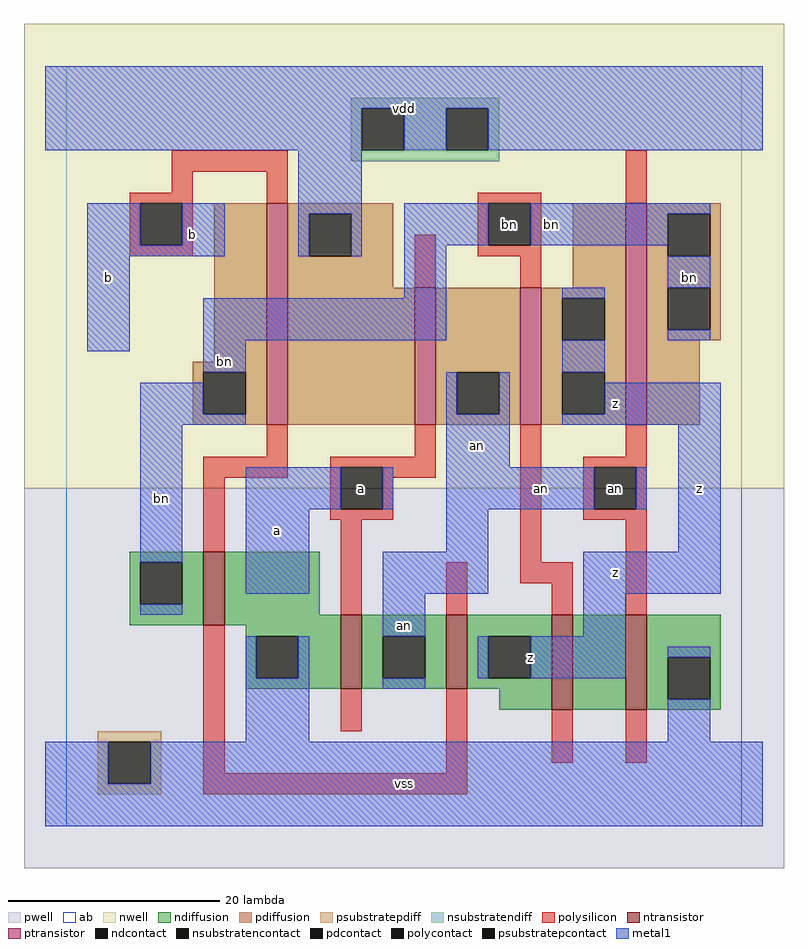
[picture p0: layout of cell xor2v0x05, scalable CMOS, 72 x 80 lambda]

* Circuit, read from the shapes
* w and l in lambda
.subckt xor2v0x05 a an b bn vdd vss z
M1 vss b bn vss nfet w=7 l=2
M2 an a vss vss nfet w=7 l=2
M3 z b an vss nfet w=7 l=2
M4 n1 bn z vss nfet w=9 l=2
M5 vss an n1 vss nfet w=9 l=2
M6 vdd b bn vdd pfet w=21 l=2
M7 an a vdd vdd pfet w=13 l=2
M8 z bn an vdd pfet w=13 l=2
M9 bn an z vdd pfet w=21 l=2
.ends

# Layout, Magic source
magic
tech scmos
<< ab >>
rect 0 0 64 72
<< pwell >>
rect -4 -4 68 32
<< nwell >>
rect -4 32 68 76
<< polysilicon >>
rect 10 62 21 64
rect 10 60 12 62
rect 6 59 12 60
rect 19 59 21 62
rect 39 59 45 60
rect 53 59 55 64
rect 6 55 7 59
rect 11 55 12 59
rect 6 54 12 55
rect 33 51 35 56
rect 39 55 40 59
rect 44 55 45 59
rect 39 54 45 55
rect 43 51 45 54
rect 19 35 21 38
rect 33 35 35 38
rect 13 33 21 35
rect 25 34 35 35
rect 13 26 15 33
rect 25 30 26 34
rect 30 33 35 34
rect 30 30 31 33
rect 25 29 31 30
rect 26 20 28 29
rect 43 25 45 38
rect 53 35 55 38
rect 49 34 55 35
rect 49 30 50 34
rect 54 30 55 34
rect 49 29 55 30
rect 36 20 38 25
rect 43 23 48 25
rect 46 20 48 23
rect 53 20 55 29
rect 13 5 15 19
rect 26 9 28 13
rect 36 5 38 13
rect 46 6 48 11
rect 53 6 55 11
rect 13 3 38 5
<< ndiffusion >>
rect 6 25 13 26
rect 6 21 7 25
rect 11 21 13 25
rect 6 19 13 21
rect 15 20 24 26
rect 15 19 26 20
rect 17 18 26 19
rect 17 14 18 18
rect 22 14 26 18
rect 17 13 26 14
rect 28 18 36 20
rect 28 14 30 18
rect 34 14 36 18
rect 28 13 36 14
rect 38 18 46 20
rect 38 14 40 18
rect 44 14 46 18
rect 38 13 46 14
rect 41 11 46 13
rect 48 11 53 20
rect 55 16 62 20
rect 55 12 57 16
rect 61 12 62 16
rect 55 11 62 12
<< pdiffusion >>
rect 14 44 19 59
rect 12 43 19 44
rect 12 39 13 43
rect 17 39 19 43
rect 12 38 19 39
rect 21 58 31 59
rect 21 54 23 58
rect 27 54 31 58
rect 21 51 31 54
rect 48 51 53 59
rect 21 38 33 51
rect 35 43 43 51
rect 35 39 37 43
rect 41 39 43 43
rect 35 38 43 39
rect 45 50 53 51
rect 45 46 47 50
rect 51 46 53 50
rect 45 43 53 46
rect 45 39 47 43
rect 51 39 53 43
rect 45 38 53 39
rect 55 58 62 59
rect 55 54 57 58
rect 61 54 62 58
rect 55 51 62 54
rect 55 47 57 51
rect 61 47 62 51
rect 55 46 62 47
rect 55 38 60 46
<< metal1 >>
rect -2 68 66 72
rect -2 64 28 68
rect 32 64 36 68
rect 40 64 66 68
rect 2 55 7 59
rect 11 55 15 59
rect 2 54 15 55
rect 22 58 28 64
rect 22 54 23 58
rect 27 54 28 58
rect 32 55 40 59
rect 44 58 61 59
rect 44 55 57 58
rect 2 45 6 54
rect 32 50 36 55
rect 57 51 61 54
rect 13 46 36 50
rect 47 50 51 51
rect 57 46 61 47
rect 13 43 17 46
rect 47 43 51 46
rect 7 39 13 42
rect 7 38 17 39
rect 36 39 37 43
rect 41 39 42 43
rect 7 25 11 38
rect 36 34 42 39
rect 51 39 62 42
rect 47 38 62 39
rect 17 30 26 34
rect 30 30 31 34
rect 36 30 50 34
rect 54 30 55 34
rect 17 22 23 30
rect 36 26 40 30
rect 58 26 62 38
rect 30 22 40 26
rect 49 22 62 26
rect 7 20 11 21
rect 30 18 34 22
rect 49 18 53 22
rect 17 14 18 18
rect 22 14 23 18
rect 17 8 23 14
rect 39 14 40 18
rect 44 14 53 18
rect 57 16 61 17
rect 30 13 34 14
rect 57 8 61 12
rect -2 4 4 8
rect 8 4 66 8
rect -2 0 66 4
<< ntransistor >>
rect 13 19 15 26
rect 26 13 28 20
rect 36 13 38 20
rect 46 11 48 20
rect 53 11 55 20
<< ptransistor >>
rect 19 38 21 59
rect 33 38 35 51
rect 43 38 45 51
rect 53 38 55 59
<< polycontact >>
rect 7 55 11 59
rect 40 55 44 59
rect 26 30 30 34
rect 50 30 54 34
<< ndcontact >>
rect 7 21 11 25
rect 18 14 22 18
rect 30 14 34 18
rect 40 14 44 18
rect 57 12 61 16
<< pdcontact >>
rect 13 39 17 43
rect 23 54 27 58
rect 37 39 41 43
rect 47 46 51 50
rect 47 39 51 43
rect 57 54 61 58
rect 57 47 61 51
<< psubstratepcontact >>
rect 4 4 8 8
<< nsubstratencontact >>
rect 28 64 32 68
rect 36 64 40 68
<< psubstratepdiff >>
rect 3 8 9 9
rect 3 4 4 8
rect 8 4 9 8
rect 3 3 9 4
<< nsubstratendiff >>
rect 27 68 41 69
rect 27 64 28 68
rect 32 64 36 68
rect 40 64 41 68
rect 27 63 41 64
<< labels >>
rlabel polycontact 52 32 52 32 6 an
rlabel polycontact 42 57 42 57 6 bn
rlabel metal1 9 31 9 31 6 bn
rlabel metal1 4 52 4 52 6 b
rlabel metal1 12 56 12 56 6 b
rlabel metal1 20 28 20 28 6 a
rlabel polycontact 28 32 28 32 6 a
rlabel metal1 15 44 15 44 6 bn
rlabel metal1 32 4 32 4 6 vss
rlabel metal1 44 16 44 16 6 z
rlabel metal1 32 19 32 19 6 an
rlabel metal1 39 36 39 36 6 an
rlabel metal1 32 68 32 68 6 vdd
rlabel metal1 52 24 52 24 6 z
rlabel metal1 45 32 45 32 6 an
rlabel metal1 60 32 60 32 6 z
rlabel metal1 52 40 52 40 6 z
rlabel metal1 59 52 59 52 6 bn
rlabel metal1 46 57 46 57 6 bn
<< end >>
